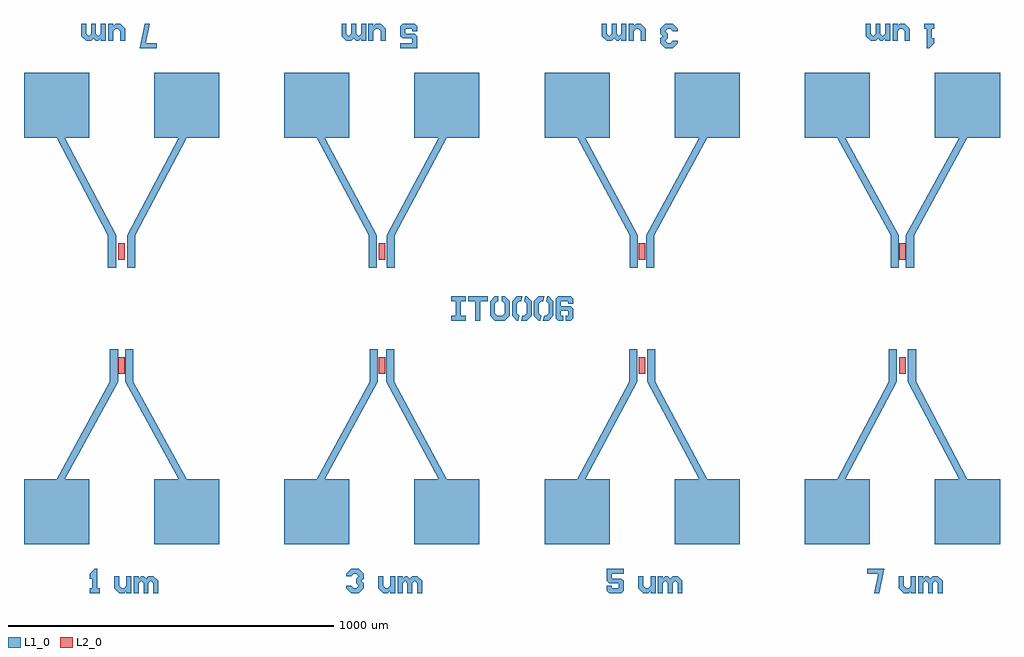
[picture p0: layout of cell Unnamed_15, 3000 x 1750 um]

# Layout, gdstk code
from math import pi, radians
import gdstk
lib = gdstk.Library(unit=1e-6, precision=1e-09)
def R(c, l, rs):  # rectangles x0, y0, x1, y1
    for r in rs: c.add(gdstk.rectangle(r[:2], r[2:], *l))
def P(c, l, *ps):  # polygons
    for p in ps: c.add(gdstk.Polygon(p, *l))
L1_0 = (1, 0)
L2_0 = (2, 0)

text_gdsfactorypcompone_ = lib.new_cell('text_gdsfactorypcompone_35beaf60')
P(text_gdsfactorypcompone_, L1_0, [(97.5,0),(82.5,15),(82.5,52.5),(97.5,52.5),(97.5,22.5),(105,15),(112.5,15),(120,22.5),(120,52.5),(135,52.5),(135,0),(120,0),(120,7.5),(112.5,0)],
  [(142.5,0),(142.5,52.5),(157.5,52.5),(157.5,45),(165,52.5),(172.5,52.5),(180,45),(187.5,52.5),(202.5,52.5),(217.5,37.5),(217.5,0),(202.5,0),(202.5,30),(195,37.5),(187.5,30),(187.5,0),(172.5,0),(172.5,30),(165,37.5),(157.5,30),(157.5,0)],
  [(7.5,0),(7.5,15),(15,15),(15,45),(7.5,45),(7.5,60),(22.5,75),(30,75),(30,15),(37.5,15),(37.5,0)])

unnamed_3 = lib.new_cell('Unnamed_3')
P(unnamed_3, L1_0, [(-100,-200),(-100,0),(0,0),(164,300),(164,400),(189,400),(189,300),(25,0),(100,0),(100,-200)],
  [(300,-200),(300,0),(375,0),(211,300),(211,400),(236,400),(236,300),(400,0),(500,0),(500,-200)])
R(unnamed_3, L2_0, [(190,325,210,375)])
unnamed_3.add(gdstk.Reference(text_gdsfactorypcompone_, (95,-350)))

c_text_gdsfactorypcompone_ = lib.new_cell('text_gdsfactorypcompone_5c147469')
P(c_text_gdsfactorypcompone_, L1_0, [(120,0),(105,15),(105,52.5),(120,52.5),(120,22.5),(127.5,15),(135,15),(142.5,22.5),(142.5,52.5),(157.5,52.5),(157.5,0),(142.5,0),(142.5,7.5),(135,0)],
  [(165,0),(165,52.5),(180,52.5),(180,45),(187.5,52.5),(195,52.5),(202.5,45),(210,52.5),(225,52.5),(240,37.5),(240,0),(225,0),(225,30),(217.5,37.5),(210,30),(210,0),(195,0),(195,30),(187.5,37.5),(180,30),(180,0)],
  [(22.5,0),(7.5,15),(7.5,22.5),(22.5,22.5),(30,15),(37.5,15),(45,22.5),(37.5,30),(37.5,45),(45,52.5),(37.5,60),(30,60),(22.5,52.5),(7.5,52.5),(7.5,60),(22.5,75),(45,75),(60,60),(60,45),(52.5,37.5),(60,30),(60,15),(45,0)])

unnamed_6 = lib.new_cell('Unnamed_6')
P(unnamed_6, L1_0, [(-100,-200),(-100,0),(0,0),(162,300),(162,400),(187,400),(187,300),(25,0),(100,0),(100,-200)],
  [(300,-200),(300,0),(375,0),(213,300),(213,400),(238,400),(238,300),(400,0),(500,0),(500,-200)])
R(unnamed_6, L2_0, [(190,325,210,375)])
unnamed_6.add(gdstk.Reference(c_text_gdsfactorypcompone_, (83.75,-350)))

c_text_gdsfactorypcompone__ = lib.new_cell('text_gdsfactorypcompone_da0df772')
P(c_text_gdsfactorypcompone__, L1_0, [(120,0),(105,15),(105,52.5),(120,52.5),(120,22.5),(127.5,15),(135,15),(142.5,22.5),(142.5,52.5),(157.5,52.5),(157.5,0),(142.5,0),(142.5,7.5),(135,0)],
  [(165,0),(165,52.5),(180,52.5),(180,45),(187.5,52.5),(195,52.5),(202.5,45),(210,52.5),(225,52.5),(240,37.5),(240,0),(225,0),(225,30),(217.5,37.5),(210,30),(210,0),(195,0),(195,30),(187.5,37.5),(180,30),(180,0)],
  [(15,0),(7.5,7.5),(7.5,22.5),(22.5,22.5),(22.5,15),(45,15),(45,30),(15,30),(7.5,37.5),(7.5,75),(60,75),(60,60),(22.5,60),(22.5,45),(52.5,45),(60,37.5),(60,7.5),(52.5,0)])

unnamed_9 = lib.new_cell('Unnamed_9')
P(unnamed_9, L1_0, [(-100,-200),(-100,0),(0,0),(160,300),(160,400),(185,400),(185,300),(25,0),(100,0),(100,-200)],
  [(300,-200),(300,0),(375,0),(215,300),(215,400),(240,400),(240,300),(400,0),(500,0),(500,-200)])
R(unnamed_9, L2_0, [(190,325,210,375)])
unnamed_9.add(gdstk.Reference(c_text_gdsfactorypcompone__, (83.75,-350)))

c_text_gdsfactorypcompone___ = lib.new_cell('text_gdsfactorypcompone_8c83f256')
P(c_text_gdsfactorypcompone___, L1_0, [(120,0),(105,15),(105,52.5),(120,52.5),(120,22.5),(127.5,15),(135,15),(142.5,22.5),(142.5,52.5),(157.5,52.5),(157.5,0),(142.5,0),(142.5,7.5),(135,0)],
  [(165,0),(165,52.5),(180,52.5),(180,45),(187.5,52.5),(195,52.5),(202.5,45),(210,52.5),(225,52.5),(240,37.5),(240,0),(225,0),(225,30),(217.5,37.5),(210,30),(210,0),(195,0),(195,30),(187.5,37.5),(180,30),(180,0)],
  [(30,0),(42,60),(7.5,60),(7.5,75),(60,75),(45,0)])

unnamed_12 = lib.new_cell('Unnamed_12')
P(unnamed_12, L1_0, [(-100,-200),(-100,0),(0,0),(158,300),(158,400),(183,400),(183,300),(25,0),(100,0),(100,-200)],
  [(300,-200),(300,0),(375,0),(217,300),(217,400),(242,400),(242,300),(400,0),(500,0),(500,-200)])
R(unnamed_12, L2_0, [(190,325,210,375)])
unnamed_12.add(gdstk.Reference(c_text_gdsfactorypcompone___, (83.75,-350)))

unnamed_2 = lib.new_cell('Unnamed_2')
unnamed_2.add(gdstk.Reference(unnamed_3, (0,0)))
unnamed_2.add(gdstk.Reference(unnamed_6, (800,0)))
unnamed_2.add(gdstk.Reference(unnamed_9, (1600,0)))
unnamed_2.add(gdstk.Reference(unnamed_12, (2400,0)))

c_text_gdsfactorypcompone____ = lib.new_cell('text_gdsfactorypcompone_201370e3')
P(c_text_gdsfactorypcompone____, L1_0, [(-187.5,0),(-187.5,15),(-172.5,15),(-172.5,60),(-187.5,60),(-187.5,75),(-142.5,75),(-142.5,60),(-157.5,60),(-157.5,15),(-142.5,15),(-142.5,0)],
  [(-112.5,0),(-112.5,60),(-135,60),(-135,75),(-75,75),(-75,60),(-97.5,60),(-97.5,0)],
  [(-52.5,0),(-67.5,15),(-67.5,60),(-52.5,75),(-42.75,75),(-42.75,60),(-45,60),(-52.5,52.5),(-52.5,22.5),(-45,15),(-30,15),(-22.5,22.5),(-22.5,52.5),(-30,60),(-32.25,60),(-32.25,75),(-22.5,75),(-7.5,60),(-7.5,15),(-22.5,0)],
  [(15,0),(0,15),(0,60),(15,75),(32.25,75),(28.5,60),(22.5,60),(15,52.5),(15,22.5),(22.5,15),(18.75,0)],
  [(27.75,0),(31.5,15),(37.5,15),(45,22.5),(45,52.5),(37.5,60),(41.25,75),(45,75),(60,60),(60,15),(45,0)],
  [(82.5,0),(67.5,15),(67.5,60),(82.5,75),(99.75,75),(96,60),(90,60),(82.5,52.5),(82.5,22.5),(90,15),(86.25,0)],
  [(95.25,0),(99,15),(105,15),(112.5,22.5),(112.5,52.5),(105,60),(108.75,75),(112.5,75),(127.5,60),(127.5,15),(112.5,0)],
  [(142.5,0),(135,7.5),(135,67.5),(142.5,75),(180,75),(187.5,67.5),(187.5,52.5),(172.5,52.5),(172.5,60),(150,60),(150,45),(180,45),(187.5,37.5),(187.5,7.5),(180,0),(165,0),(165,15),(172.5,15),(172.5,30),(150,30),(150,15),(157.5,15),(157.5,0)])

unnamed_15 = lib.new_cell('Unnamed_15')
unnamed_15.add(gdstk.Reference(unnamed_2, (-1400,-525)))
unnamed_15.add(gdstk.Reference(unnamed_2, (1400,525), rotation=pi))
unnamed_15.add(gdstk.Reference(c_text_gdsfactorypcompone____, (0,-37.5)))

lib.write_gds('Unnamed_15.gds')
